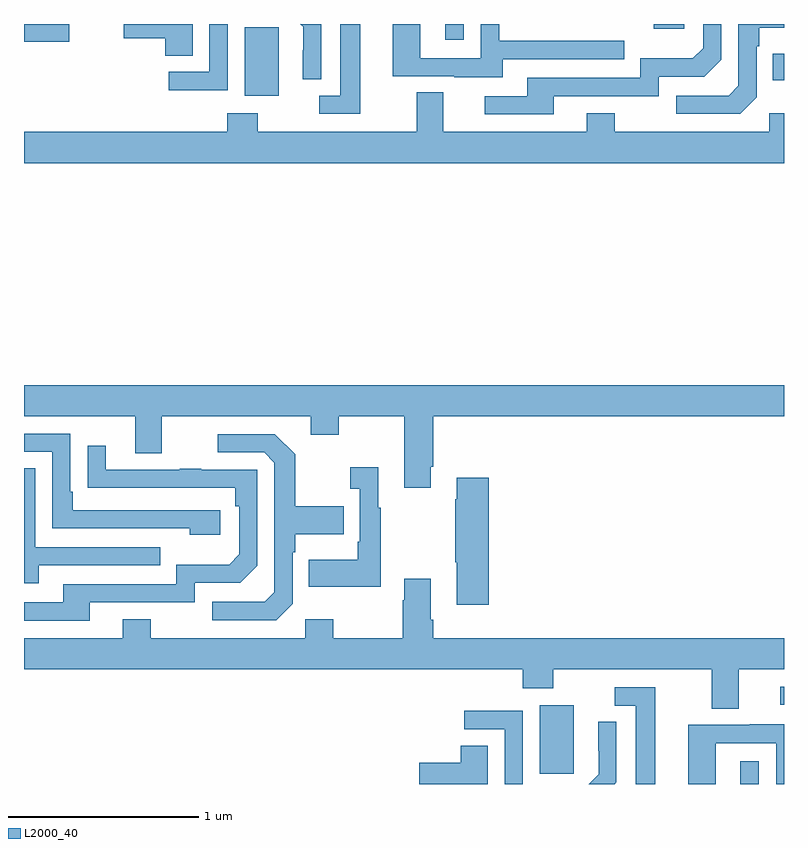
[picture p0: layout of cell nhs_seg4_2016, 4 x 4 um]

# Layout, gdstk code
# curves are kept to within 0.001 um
import gdstk
lib = gdstk.Library(unit=1e-6, precision=1e-09)
def R(c, l, rs):  # rectangles x0, y0, x1, y1
    for r in rs: c.add(gdstk.rectangle(r[:2], r[2:], *l))
def P(c, l, *ps):  # polygons
    for p in ps: c.add(gdstk.Polygon(p, *l))
L2000_40 = (2000, 40)

nhs_seg4_2016 = lib.new_cell('nhs_seg4_2016')
R(nhs_seg4_2016, L2000_40, [(218.771,778.9,218.868,779.02), (217.715,778.953,217.894,779.314), (218.979,779.316,219,779.412), (216.161,782.522,216.34,782.883), (218.941,782.603,219,782.743), (215,782.806,215.239,782.9), (217.217,782.817,217.314,782.9), (218.315,782.876,218.476,782.9)])
P(nhs_seg4_2016, L2000_40, [(217.519,782.715),(218.159,782.715),(218.159,782.811),(217.5,782.811),(217.5,782.9),(217.404,782.9),(217.404,782.721),(217.086,782.721),(217.086,782.9),(216.941,782.9),(216.941,782.625),(217.265,782.625),(217.265,782.621),(217.519,782.621)],
  [(217.789,782.52),(218.34,782.52),(218.34,782.622),(218.58,782.622),(218.67,782.712),(218.67,782.9),(218.574,782.9),(218.574,782.772),(218.521,782.719),(218.244,782.719),(218.244,782.616),(217.649,782.616),(217.649,782.52),(217.425,782.52),(217.425,782.424),(217.789,782.424)],
  [(216.072,782.9),(215.976,782.9),(215.976,782.649),(215.763,782.649),(215.763,782.551),(216.072,782.551)],
  [(216.769,782.9),(216.665,782.9),(216.665,782.523),(216.555,782.523),(216.555,782.427),(216.769,782.427)],
  [(216.564,782.9),(216.455,782.9),(216.47,782.885),(216.47,782.762),(216.468,782.762),(216.468,782.608),(216.564,782.608)],
  [(218.856,782.514),(218.856,782.783),(218.869,782.783),(218.869,782.879),(219,782.879),(219,782.9),(218.76,782.9),(218.76,782.574),(218.709,782.523),(218.433,782.523),(218.433,782.427),(218.769,782.427)],
  [(215.887,782.9),(215.526,782.9),(215.526,782.825),(215.744,782.825),(215.744,782.734),(215.887,782.734)],
  [(219,782.431),(218.922,782.431),(218.922,782.332),(218.109,782.332),(218.109,782.431),(217.961,782.431),(217.961,782.332),(217.207,782.332),(217.207,782.54),(217.067,782.54),(217.067,782.332),(216.231,782.332),(216.231,782.431),(216.071,782.431),(216.071,782.332),(215,782.332),(215,782.168),(219,782.168)],
  [(217.141,780.571),(217.154,780.571),(217.154,780.836),(219,780.836),(219,781),(215,781),(215,780.836),(215.585,780.836),(215.585,780.642),(215.725,780.642),(215.725,780.836),(216.509,780.836),(216.509,780.737),(216.657,780.737),(216.657,780.836),(217.001,780.836),(217.001,780.459),(217.141,780.459)],
  [(216.034,780.342),(215.257,780.342),(215.257,780.439),(215.244,780.439),(215.244,780.744),(215,780.744),(215,780.648),(215.148,780.648),(215.148,780.246),(215.873,780.246),(215.873,780.212),(216.034,780.212)],
  [(216.414,779.85),(216.414,780.119),(216.427,780.119),(216.427,780.215),(216.683,780.215),(216.683,780.363),(216.427,780.363),(216.427,780.635),(216.321,780.741),(216.021,780.741),(216.021,780.645),(216.264,780.645),(216.318,780.591),(216.318,779.91),(216.267,779.859),(215.991,779.859),(215.991,779.763),(216.327,779.763)],
  [(215.347,779.856),(215.898,779.856),(215.898,779.958),(216.138,779.958),(216.228,780.048),(216.228,780.555),(215.933,780.555),(215.933,780.56),(215.821,780.56),(215.821,780.555),(215.431,780.555),(215.431,780.679),(215.335,780.679),(215.335,780.46),(216.112,780.459),(216.112,780.362),(216.132,780.362),(216.132,780.108),(216.079,780.055),(215.802,780.055),(215.802,779.952),(215.207,779.952),(215.207,779.856),(215,779.856),(215,779.76),(215.347,779.76)],
  [(216.877,780.355),(216.865,780.355),(216.865,780.568),(216.717,780.568),(216.717,780.455),(216.768,780.455),(216.768,780.175),(216.756,780.175),(216.756,780.079),(216.499,780.079),(216.499,779.939),(216.877,779.939)],
  [(215.077,780.051),(215.717,780.051),(215.717,780.147),(215.058,780.147),(215.058,780.563),(215,780.563),(215,779.957),(215.077,779.957)],
  [(217.445,780.511),(217.277,780.511),(217.277,780.398),(217.27,780.398),(217.27,780.067),(217.277,780.067),(217.277,779.844),(217.445,779.844)],
  [(218.761,779.504),(219,779.504),(219,779.668),(217.154,779.668),(217.154,779.764),(217.141,779.764),(217.141,779.98),(217.001,779.98),(217.001,779.867),(216.994,779.867),(216.994,779.668),(216.627,779.668),(216.627,779.767),(216.48,779.767),(216.48,779.668),(215.667,779.668),(215.667,779.767),(215.519,779.767),(215.519,779.668),(215,779.668),(215,779.504),(217.625,779.504),(217.625,779.405),(217.785,779.405),(217.785,779.504),(218.621,779.504),(218.621,779.296),(218.761,779.296)],
  [(218.323,779.409),(218.109,779.409),(218.109,779.313),(218.219,779.313),(218.219,778.9),(218.323,778.9)],
  [(217.626,779.286),(217.317,779.286),(217.317,779.187),(217.53,779.187),(217.53,778.9),(217.626,778.9)],
  [(218.118,778.91),(218.118,779.228),(218.022,779.228),(218.022,779.074),(218.024,779.074),(218.024,778.952),(217.972,778.9),(218.108,778.9)],
  [(218.64,779.115),(218.958,779.115),(218.958,778.9),(219,778.9),(219,779.215),(218.819,779.215),(218.819,779.211),(218.495,779.211),(218.495,778.9),(218.64,778.9)],
  [(217.441,779.102),(217.298,779.102),(217.298,779.012),(217.08,779.012),(217.08,778.9),(217.441,778.9)])

lib.write_gds('nhs_seg4_2016.gds')
